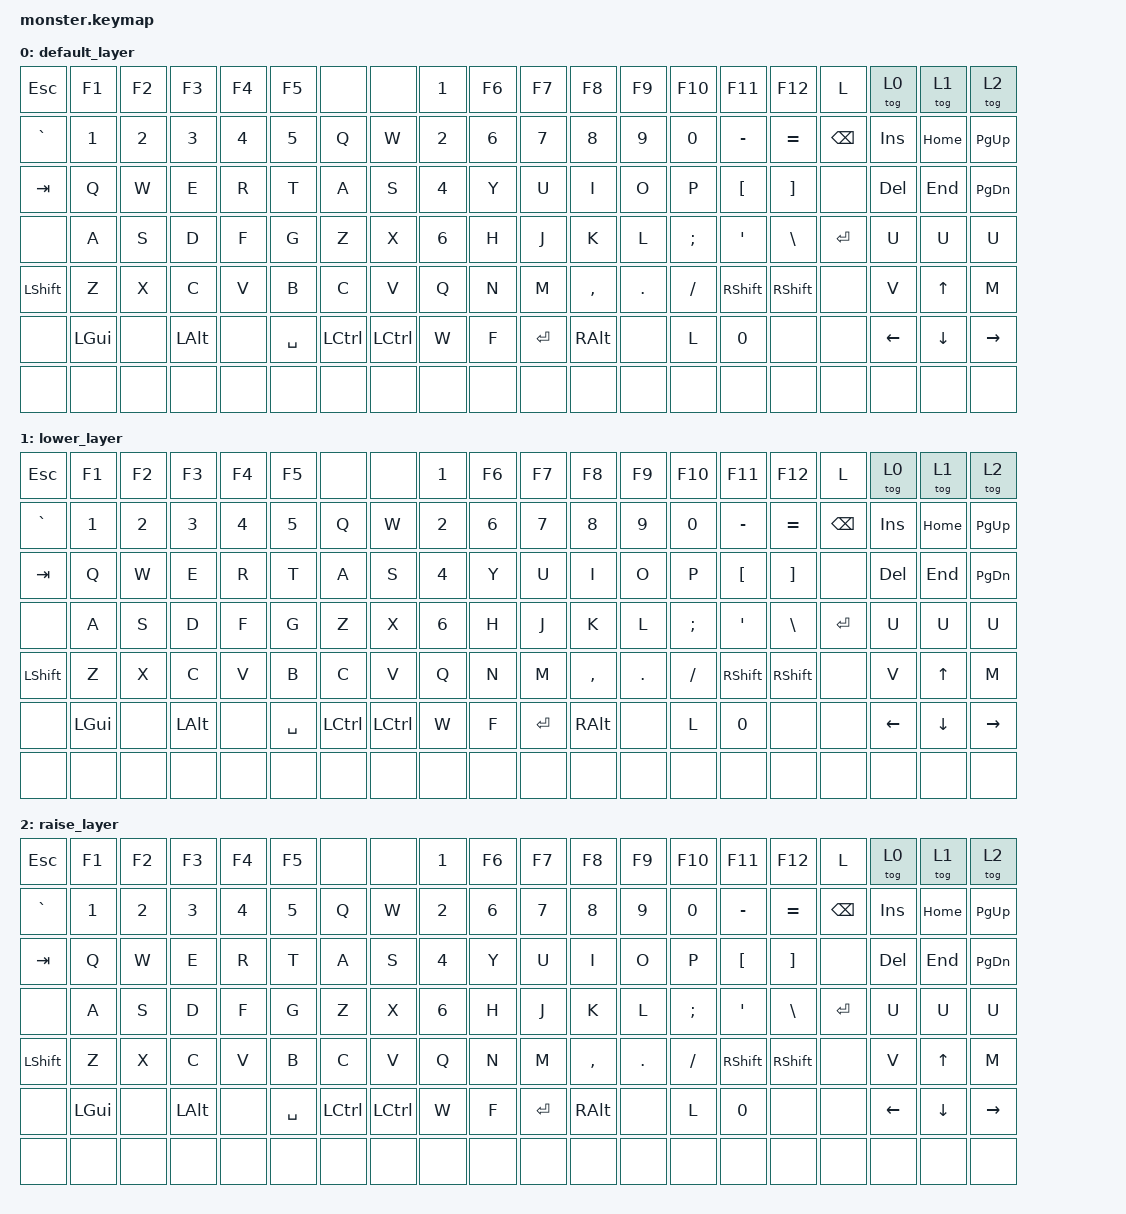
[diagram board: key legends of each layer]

#include <behaviors.dtsi>
#include <dt-bindings/zmk/keys.h>
#include <dt-bindings/zmk/bt.h>

/ {
        keymap {
                compatible = "zmk,keymap";

                default_layer {
             
                        bindings = <
&kp ESC     &kp F1      &kp F2      &kp F3      &kp F4      &kp F5      &none       &none                   &kp N1       &kp F6      &kp F7      &kp F8      &kp F9      &kp F10     &kp F11     &kp F12    &kp L       &tog 0      &tog 1      &tog 2
&kp GRAVE   &kp N1      &kp N2      &kp N3      &kp N4      &kp N5      &kp Q       &kp W                   &kp N2       &kp N6      &kp N7      &kp N8      &kp N9      &kp N0      &kp MINUS   &kp EQUAL  &kp BSPC    &kp INS     &kp HOME    &kp PG_UP
&kp TAB     &kp Q       &kp W       &kp E       &kp R       &kp T       &kp A       &kp S                   &kp N4       &kp Y       &kp U       &kp I       &kp O       &kp P       &kp LBKT    &kp RBKT   &none       &kp DEL     &kp END     &kp PG_DN
&none       &kp A       &kp S       &kp D       &kp F       &kp G       &kp Z       &kp X                   &kp N6       &kp H       &kp J       &kp K       &kp L       &kp SEMI    &kp SQT     &kp BSLH   &kp ENTER   &kp U       &kp U       &kp U
&kp LSHFT   &kp Z       &kp X       &kp C       &kp V       &kp B       &kp C       &kp V                   &kp Q        &kp N       &kp M       &kp COMMA   &kp DOT     &kp FSLH    &kp RSHFT   &kp RSHFT  &none       &kp V       &kp UP      &kp M
&none       &kp LGUI    &none       &kp LALT    &none       &kp SPC     &kp LCTRL   &kp LCTRL               &kp W        &kp F       &kp ENTER   &kp RALT    &none       &kp L       &kp N0      &none      &none       &kp LEFT    &kp DOWN    &kp RIGHT
&none       &none       &none       &none       &none       &none       &none       &none                   &none        &none       &none       &none       &none       &none       &none       &none      &none       &none       &none       &none

                        >;
                };
                lower_layer {
             
                        bindings = <
&kp ESC     &kp F1      &kp F2      &kp F3      &kp F4      &kp F5      &none       &none                   &kp N1       &kp F6      &kp F7      &kp F8      &kp F9      &kp F10     &kp F11     &kp F12    &kp L       &tog 0      &tog 1      &tog 2
&kp GRAVE   &kp N1      &kp N2      &kp N3      &kp N4      &kp N5      &kp Q       &kp W                   &kp N2       &kp N6      &kp N7      &kp N8      &kp N9      &kp N0      &kp MINUS   &kp EQUAL  &kp BSPC    &kp INS     &kp HOME    &kp PG_UP
&kp TAB     &kp Q       &kp W       &kp E       &kp R       &kp T       &kp A       &kp S                   &kp N4       &kp Y       &kp U       &kp I       &kp O       &kp P       &kp LBKT    &kp RBKT   &none       &kp DEL     &kp END     &kp PG_DN
&none       &kp A       &kp S       &kp D       &kp F       &kp G       &kp Z       &kp X                   &kp N6       &kp H       &kp J       &kp K       &kp L       &kp SEMI    &kp SQT     &kp BSLH   &kp ENTER   &kp U       &kp U       &kp U
&kp LSHFT   &kp Z       &kp X       &kp C       &kp V       &kp B       &kp C       &kp V                   &kp Q        &kp N       &kp M       &kp COMMA   &kp DOT     &kp FSLH    &kp RSHFT   &kp RSHFT  &none       &kp V       &kp UP      &kp M
&none       &kp LGUI    &none       &kp LALT    &none       &kp SPC     &kp LCTRL   &kp LCTRL               &kp W        &kp F       &kp ENTER   &kp RALT    &none       &kp L       &kp N0      &none      &none       &kp LEFT    &kp DOWN    &kp RIGHT
&none       &none       &none       &none       &none       &none       &none       &none                   &none        &none       &none       &none       &none       &none       &none       &none      &none       &none       &none       &none                        >;
                };

                raise_layer {
             
                        bindings = <
&kp ESC     &kp F1      &kp F2      &kp F3      &kp F4      &kp F5      &none       &none                   &kp N1       &kp F6      &kp F7      &kp F8      &kp F9      &kp F10     &kp F11     &kp F12    &kp L       &tog 0      &tog 1      &tog 2
&kp GRAVE   &kp N1      &kp N2      &kp N3      &kp N4      &kp N5      &kp Q       &kp W                   &kp N2       &kp N6      &kp N7      &kp N8      &kp N9      &kp N0      &kp MINUS   &kp EQUAL  &kp BSPC    &kp INS     &kp HOME    &kp PG_UP
&kp TAB     &kp Q       &kp W       &kp E       &kp R       &kp T       &kp A       &kp S                   &kp N4       &kp Y       &kp U       &kp I       &kp O       &kp P       &kp LBKT    &kp RBKT   &none       &kp DEL     &kp END     &kp PG_DN
&none       &kp A       &kp S       &kp D       &kp F       &kp G       &kp Z       &kp X                   &kp N6       &kp H       &kp J       &kp K       &kp L       &kp SEMI    &kp SQT     &kp BSLH   &kp ENTER   &kp U       &kp U       &kp U
&kp LSHFT   &kp Z       &kp X       &kp C       &kp V       &kp B       &kp C       &kp V                   &kp Q        &kp N       &kp M       &kp COMMA   &kp DOT     &kp FSLH    &kp RSHFT   &kp RSHFT  &none       &kp V       &kp UP      &kp M
&none       &kp LGUI    &none       &kp LALT    &none       &kp SPC     &kp LCTRL   &kp LCTRL               &kp W        &kp F       &kp ENTER   &kp RALT    &none       &kp L       &kp N0      &none      &none       &kp LEFT    &kp DOWN    &kp RIGHT
&none       &none       &none       &none       &none       &none       &none       &none                   &none        &none       &none       &none       &none       &none       &none       &none      &none       &none       &none       &none               
                        >;
                };
        };
};
